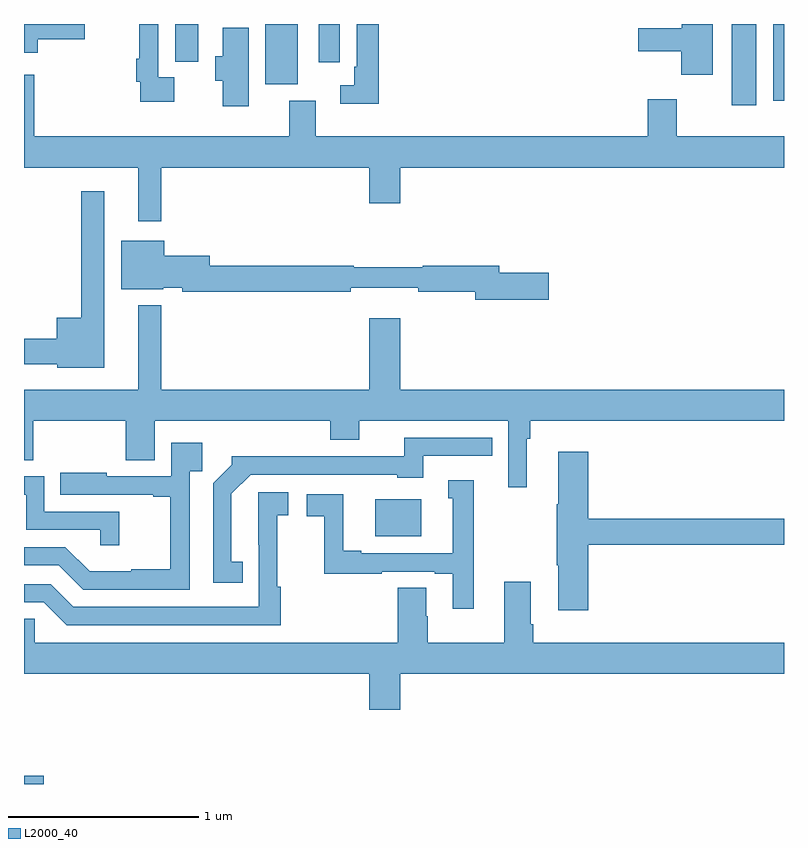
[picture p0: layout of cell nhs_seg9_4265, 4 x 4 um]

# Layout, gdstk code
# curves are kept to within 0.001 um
import gdstk
lib = gdstk.Library(unit=1e-6, precision=1e-09)
def R(c, l, rs):  # rectangles x0, y0, x1, y1
    for r in rs: c.add(gdstk.rectangle(r[:2], r[2:], *l))
def P(c, l, *ps):  # polygons
    for p in ps: c.add(gdstk.Polygon(p, *l))
L2000_40 = (2000, 40)

nhs_seg9_4265 = lib.new_cell('nhs_seg9_4265')
R(nhs_seg9_4265, L2000_40, [(355,1202.5,355.103,1202.544), (356.849,1203.803,357.091,1204), (358.724,1206.072,358.855,1206.5), (358.943,1206.096,359,1206.5), (356.27,1206.182,356.44,1206.5), (356.55,1206.3,356.662,1206.5), (355.796,1206.301,355.918,1206.5)])
P(nhs_seg9_4265, L2000_40, [(358.624,1206.5),(358.462,1206.5),(358.462,1206.478),(358.233,1206.478),(358.233,1206.356),(358.46,1206.356),(358.46,1206.234),(358.624,1206.234)],
  [(356.867,1206.5),(356.751,1206.5),(356.751,1206.274),(356.739,1206.274),(356.739,1206.177),(356.664,1206.177),(356.664,1206.08),(356.867,1206.08)],
  [(355.072,1206.419),(355.321,1206.419),(355.321,1206.5),(355,1206.5),(355,1206.35),(355.072,1206.35)],
  [(355.79,1206.22),(355.707,1206.22),(355.707,1206.5),(355.606,1206.5),(355.606,1206.316),(355.591,1206.316),(355.591,1206.196),(355.611,1206.196),(355.611,1206.092),(355.79,1206.092)],
  [(356.182,1206.481),(356.045,1206.481),(356.045,1206.331),(356.006,1206.331),(356.006,1206.202),(356.045,1206.202),(356.045,1206.066),(356.182,1206.066)],
  [(355.723,1205.744),(356.816,1205.744),(356.816,1205.556),(356.98,1205.556),(356.98,1205.744),(359,1205.744),(359,1205.908),(358.435,1205.908),(358.435,1206.103),(358.283,1206.103),(358.283,1205.908),(356.536,1205.908),(356.536,1206.097),(356.396,1206.097),(356.396,1205.908),(355.055,1205.908),(355.055,1206.232),(355,1206.232),(355,1205.744),(355.601,1205.744),(355.601,1205.463),(355.723,1205.463)],
  [(355.423,1205.62),(355.302,1205.62),(355.302,1204.954),(355.172,1204.954),(355.172,1204.844),(355,1204.844),(355,1204.709),(355.176,1204.709),(355.176,1204.691),(355.423,1204.691)],
  [(357.763,1205.192),(357.502,1205.192),(357.502,1205.228),(357.098,1205.228),(357.098,1205.221),(356.736,1205.221),(356.736,1205.228),(355.978,1205.228),(355.978,1205.281),(355.738,1205.281),(355.738,1205.359),(355.511,1205.359),(355.511,1205.105),(355.734,1205.105),(355.734,1205.111),(355.834,1205.111),(355.834,1205.092),(356.72,1205.092),(356.72,1205.111),(357.076,1205.111),(357.076,1205.092),(357.374,1205.092),(357.374,1205.05),(357.763,1205.05)],
  [(357.646,1204.316),(357.665,1204.316),(357.665,1204.412),(359,1204.412),(359,1204.576),(356.98,1204.576),(356.98,1204.951),(356.816,1204.951),(356.816,1204.576),(355.723,1204.576),(355.723,1205.02),(355.601,1205.02),(355.601,1204.576),(355,1204.576),(355,1204.204),(355.049,1204.204),(355.049,1204.412),(355.535,1204.412),(355.535,1204.204),(355.687,1204.204),(355.687,1204.412),(356.612,1204.412),(356.612,1204.313),(356.764,1204.313),(356.764,1204.412),(357.549,1204.412),(357.549,1204.062),(357.646,1204.062)],
  [(356.15,1203.671),(356.092,1203.671),(356.092,1204.027),(356.193,1204.128),(356.964,1204.128),(356.964,1204.112),(357.1,1204.112),(357.1,1204.227),(357.464,1204.227),(357.464,1204.323),(357.001,1204.323),(357.001,1204.224),(356.528,1204.224),(356.528,1204.226),(356.094,1204.226),(356.094,1204.181),(355.995,1204.082),(355.995,1203.558),(356.15,1203.558)],
  [(355.872,1204.145),(355.937,1204.145),(355.937,1204.297),(355.776,1204.297),(355.776,1204.119),(355.435,1204.119),(355.435,1204.138),(355.192,1204.138),(355.192,1204.023),(355.679,1204.023),(355.679,1204.011),(355.771,1204.011),(355.771,1203.631),(355.565,1203.631),(355.565,1203.619),(355.346,1203.619),(355.218,1203.747),(355,1203.747),(355,1203.651),(355.182,1203.651),(355.311,1203.522),(355.872,1203.522)],
  [(357.971,1203.76),(359,1203.76),(359,1203.896),(357.971,1203.896),(357.971,1204.249),(357.812,1204.249),(357.812,1203.973),(357.805,1203.973),(357.805,1203.652),(357.812,1203.652),(357.812,1203.414),(357.971,1203.414)],
  [(355.502,1203.933),(355.107,1203.933),(355.107,1204.119),(355,1204.119),(355,1204.023),(355.011,1204.023),(355.011,1203.837),(355.401,1203.837),(355.401,1203.756),(355.502,1203.756)],
  [(357.367,1204.099),(357.233,1204.099),(357.233,1204.005),(357.257,1204.005),(357.257,1203.714),(356.776,1203.714),(356.776,1203.727),(356.68,1203.727),(356.68,1204.026),(356.487,1204.026),(356.487,1203.91),(356.581,1203.91),(356.581,1203.606),(356.882,1203.606),(356.882,1203.618),(357.161,1203.618),(357.161,1203.606),(357.257,1203.606),(357.257,1203.423),(357.367,1203.423)],
  [(356.351,1203.539),(356.334,1203.539),(356.334,1203.915),(356.392,1203.915),(356.392,1204.036),(356.234,1204.036),(356.235,1203.432),(355.26,1203.432),(355.14,1203.552),(355,1203.552),(355,1203.456),(355.104,1203.456),(355.224,1203.336),(356.351,1203.336)],
  [(355,1203.371),(355,1203.08),(356.816,1203.08),(356.816,1202.892),(356.98,1202.892),(356.98,1203.08),(359,1203.08),(359,1203.244),(357.68,1203.244),(357.68,1203.34),(357.667,1203.34),(357.667,1203.565),(357.527,1203.565),(357.527,1203.244),(357.126,1203.244),(357.126,1203.383),(357.118,1203.383),(357.118,1203.533),(356.966,1203.533),(356.966,1203.244),(355.056,1203.244),(355.056,1203.371)])

lib.write_gds('nhs_seg9_4265.gds')
